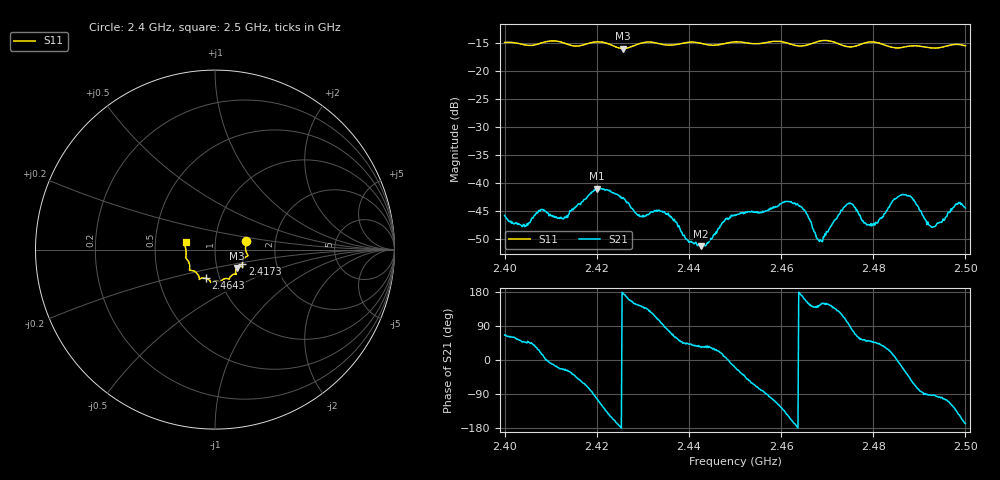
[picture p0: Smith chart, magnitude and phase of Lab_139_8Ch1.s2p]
# Hz S RI R 50
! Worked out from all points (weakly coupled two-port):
!   601 points, 2.4 GHz to 2.5 GHz, reference 50 ohm
!   highest |S21| = -40.96 dB at 2.42 GHz (marker M1); lowest = -51.2 dB at 2.4427 GHz (marker M2)
!   lowest |S11| = -15.9 dB at 2.4257 GHz (marker M3), VSWR 1.38, Z = 62.4 - j13.1 ohm
!   |S11| at or under -10 dB: start of sweep to end of sweep
!   S12 and S22 are empty: the file has one direction only
!   S11 on the Smith chart (normalised r, x): 2.4 GHz: 1.41, +0.14; 2.4173 GHz: 1.34, -0.23; 2.4643 GHz: 0.86, -0.28; 2.5 GHz: 0.72, +0.06
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2.4e9  0.1738 0.0492  0.0021 0.0047  0 0  0 0
2.404167e9  0.1712 0.0228  0.00286 0.00321  0 0  0 0
2.407833e9  0.1768 -0.0197  0.00544 0.00192  0 0  0 0
2.412833e9  0.1745 -0.0395  0.00439 -0.00194  0 0  0 0
2.416667e9  0.1527 -0.0747  0.00372 -0.00563  0 0  0 0
2.417333e9  0.1522 -0.0821  0.00331 -0.00634  0 0  0 0
2.42e9  0.1549 -0.0975  -0.00187 -0.00875  0 0  0 0
2.425667e9  0.1221 -0.1027  -0.0074 0.000484  0 0  0 0
2.429333e9  0.1163 -0.1333  -0.00405 0.003  0 0  0 0
2.433333e9  0.1126 -0.1365  -0.00159 0.00552  0 0  0 0
2.442667e9  0.0714 -0.1624  0.00229 0.0015  0 0  0 0
2.45e9  0.0293 -0.1808  0.00492 -0.00172  0 0  0 0
2.464333e9  -0.0502 -0.1603  -0.00607 0.000924  0 0  0 0
2.466667e9  -0.0763 -0.1595  -0.00338 0.00261  0 0  0 0
2.4685e9  -0.0868 -0.1653  -0.00259 0.00176  0 0  0 0
2.4745e9  -0.1017 -0.1307  -0.000942 0.00646  0 0  0 0
2.479333e9  -0.1417 -0.1151  0.00271 0.00317  0 0  0 0
2.483333e9  -0.1406 -0.0898  0.00544 0.00275  0 0  0 0
2.487667e9  -0.1589 -0.0526  0.00569 -0.00527  0 0  0 0
2.493e9  -0.1606 -0.0138  -0.000171 -0.00406  0 0  0 0
2.498333e9  -0.1704 0.0329  -0.00495 -0.00422  0 0  0 0
2.5e9  -0.1637 0.0414  -0.00587 -0.00127  0 0  0 0
